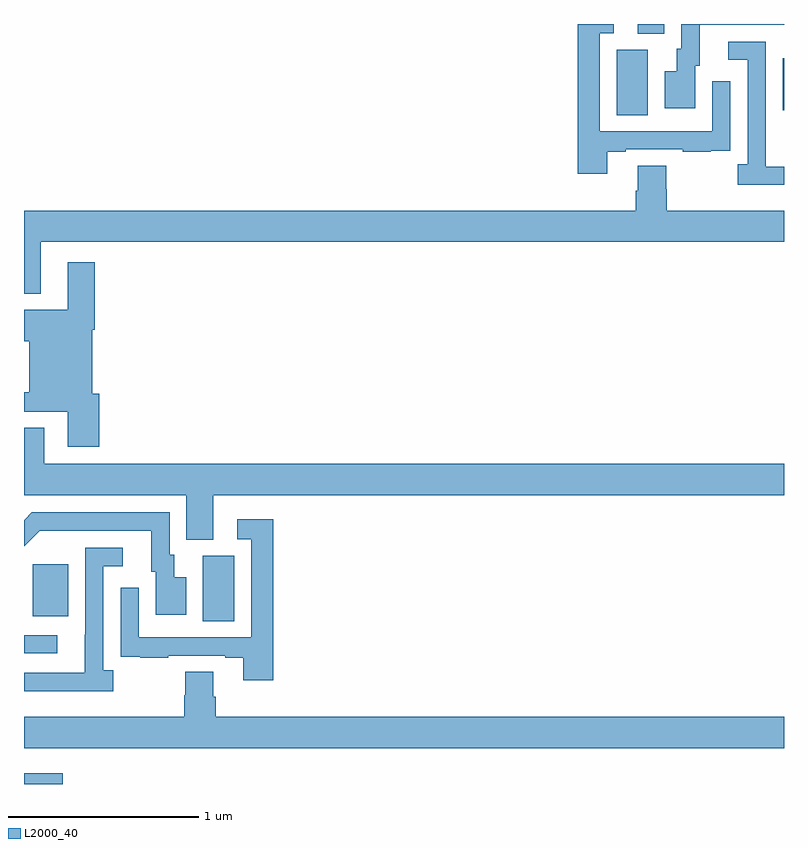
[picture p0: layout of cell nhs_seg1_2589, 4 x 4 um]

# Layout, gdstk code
import gdstk
lib = gdstk.Library(unit=1e-6, precision=1e-09)
def R(c, l, rs):  # rectangles x0, y0, x1, y1
    for r in rs: c.add(gdstk.rectangle(r[:2], r[2:], *l))
def P(c, l, *ps):  # polygons
    for p in ps: c.add(gdstk.Polygon(p, *l))
L2000_40 = (2000, 40)

nhs_seg1_2589 = lib.new_cell('nhs_seg1_2589')
R(nhs_seg1_2589, L2000_40, [(251,562.199,251.203,562.255), (251,562.887,251.176,562.983), (251.942,563.056,252.106,563.4), (251.045,563.081,251.233,563.356), (254.12,565.72,254.284,566.064), (254.993,565.745,255,566.02), (254.231,566.149,254.371,566.199)])
P(nhs_seg1_2589, L2000_40, [(254.533,565.98),(254.557,565.98),(254.557,566.196),(255,566.196),(255,566.199),(254.46,566.199),(254.46,566.07),(254.435,566.07),(254.435,565.951),(254.372,565.951),(254.372,565.755),(254.533,565.755)],
  [(254.071,565.527),(254.167,565.527),(254.167,565.539),(254.467,565.539),(254.467,565.527),(254.615,565.527),(254.615,565.533),(254.717,565.533),(254.717,565.642),(254.718,565.642),(254.718,565.897),(254.622,565.897),(254.622,565.635),(254.031,565.635),(254.031,566.151),(254.104,566.151),(254.104,566.199),(253.915,566.199),(253.915,565.41),(254.071,565.41)],
  [(255,565.449),(254.905,565.449),(254.905,565.649),(254.904,565.649),(254.904,566.106),(254.706,566.106),(254.706,566.01),(254.808,566.01),(254.808,565.462),(254.757,565.462),(254.757,565.352),(255,565.352)],
  [(251.089,565.052),(255,565.052),(255,565.216),(254.384,565.216),(254.384,565.329),(254.379,565.329),(254.379,565.454),(254.231,565.454),(254.231,565.322),(254.219,565.322),(254.219,565.216),(251,565.216),(251,564.779),(251.089,564.779)],
  [(251.396,564.252),(251.359,564.252),(251.359,564.59),(251.372,564.59),(251.372,564.946),(251.231,564.946),(251.231,564.694),(251,564.694),(251,564.53),(251.027,564.53),(251.027,564.26),(251,564.26),(251,564.159),(251.231,564.159),(251.231,563.973),(251.396,563.973)],
  [(251.995,563.72),(255,563.72),(255,563.884),(251.107,563.884),(251.107,564.074),(251,564.074),(251,563.72),(251.855,563.72),(251.855,563.485),(251.995,563.485)],
  [(251.854,563.287),(251.791,563.287),(251.791,563.406),(251.766,563.406),(251.766,563.628),(251.042,563.628),(251,563.586),(251,563.45),(251.082,563.532),(251.669,563.532),(251.669,563.316),(251.693,563.316),(251.693,563.091),(251.854,563.091)],
  [(252.311,563.593),(252.123,563.593),(252.123,563.487),(252.195,563.487),(252.195,562.971),(251.604,562.971),(251.604,563.233),(251.508,563.233),(251.508,562.978),(251.509,562.978),(251.509,562.869),(251.611,562.869),(251.611,562.863),(251.759,562.863),(251.759,562.875),(252.059,562.875),(252.059,562.863),(252.155,562.863),(252.155,562.746),(252.311,562.746)],
  [(251.47,562.798),(251.418,562.798),(251.418,563.346),(251.521,563.346),(251.521,563.442),(251.322,563.442),(251.322,562.985),(251.321,562.985),(251.321,562.785),(251,562.785),(251,562.688),(251.47,562.688)],
  [(255,562.552),(252.008,562.552),(252.008,562.658),(251.995,562.658),(251.995,562.79),(251.848,562.79),(251.848,562.665),(251.843,562.665),(251.843,562.552),(251,562.552),(251,562.388),(255,562.388)])

lib.write_gds('nhs_seg1_2589.gds')
